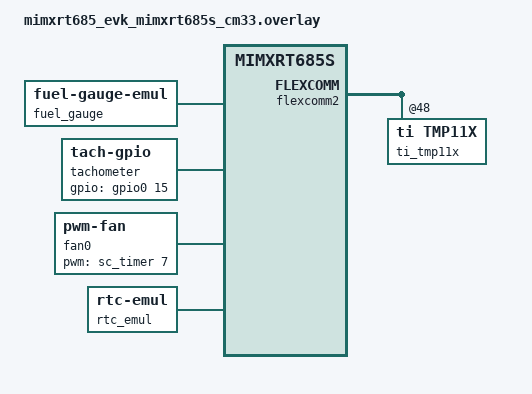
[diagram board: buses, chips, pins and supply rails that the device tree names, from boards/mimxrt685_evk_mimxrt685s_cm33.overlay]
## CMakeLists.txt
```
# SPDX-License-Identifier: Apache-2.0

cmake_minimum_required(VERSION 3.20.0)

find_package(Zephyr REQUIRED HINTS $ENV{ZEPHYR_BASE})

project(odp_thermal_service)
rust_cargo_application()
```

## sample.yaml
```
sample:
  description: ODP Thermal Service
  name: ODP Thermal Service
common:
  harness: console
  tags: rust
  filter: CONFIG_RUST_SUPPORTED
  platform_allow:
    - qemu_riscv32
tests:
  sample.rust.helloworld:
    tags: ODP
```

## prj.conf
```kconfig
# Copyright (c) 2024 Linaro LTD
# SPDX-License-Identifier: Apache-2.0

# The default 1k stack isn't large enough for rust string formatting with logging.
CONFIG_MAIN_STACK_SIZE=8192

CONFIG_RUST=y

CONFIG_RUST_ALLOC=y
CONFIG_LOG=y

# RTT logging
CONFIG_LOG_BACKEND_RTT=y
CONFIG_USE_SEGGER_RTT=y
CONFIG_RTT_CONSOLE=y
CONFIG_LOG_BACKEND_UART=n

# RTT buffer configuration
CONFIG_SEGGER_RTT_BUFFER_SIZE_UP=4096
CONFIG_SEGGER_RTT_BUFFER_SIZE_DOWN=256
CONFIG_LOG_BUFFER_SIZE=4096
CONFIG_LOG_MODE_IMMEDIATE=y

# Add sensor
CONFIG_SENSOR=y
CONFIG_I2C=y
CONFIG_SENSOR_INIT_PRIORITY=90

# Stuff for UART
CONFIG_SERIAL=y
CONFIG_UART_ASYNC_API=y
CONFIG_DMA=y
CONFIG_DMA_MCUX_LPC=y   
CONFIG_STDOUT_CONSOLE=n # u_Note: same as below, turning off the zephyr uart logging so it doesn't collide with our uart-service stuff
CONFIG_UART_CONSOLE=n # u_Note: turning off the zephyr uart logging so it doesn't collide with our uart-service stuff

# Stuff for RTC
CONFIG_RTC=y
CONFIG_RTC_ALARM=y
CONFIG_RTC_UPDATE=y
CONFIG_RTC_CALIBRATION=y

# Stuff for battery
CONFIG_FUEL_GAUGE=y

# PWM Fan config
CONFIG_PWM=y
```

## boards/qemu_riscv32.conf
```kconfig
# SPDX-License-Identifier: Apache-2.0
# No I2C needed for mock sensor on QEMU
CONFIG_I2C=n

# Match the tick rate that the thermal-service expects (default is 100, too slow)
CONFIG_SYS_CLOCK_TICKS_PER_SEC=10000

# Use icount with sleep=on so QEMU paces itself in real time
CONFIG_QEMU_ICOUNT_SLEEP=y
```

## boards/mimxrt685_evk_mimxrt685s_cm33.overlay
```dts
/*
 * Copyright (c) 2024 Linaro LTD
 * SPDX-License-Identifier: Apache-2.0
 *
 * Devicetree overlay for thermal-service sample on mimxrt685_evk
 */

&flexcomm2 {
	ti_tmp11x: ti_tmp11x@48 {
		compatible = "ti,tmp11x";
		reg = <0x48>;
		#address-cells = <1>;
		#size-cells = <0>;
	};

	/*
	 * Real SBS gauge, commented out for emulator testing
	fuel_gauge: sbs-gauge@b {
		compatible = "sbs,sbs-gauge-new-api";
		reg = <0x0b>;
	};
	*/
};

/ {
	/* Emulated fuel gauge for testing without hardware */
	fuel_gauge: fuel-gauge-emul {
		compatible = "zephyr,fuel-gauge-emul";
		status = "okay";
	};
};

/ {
    tachometer: tachometer {
        compatible = "zephyr,tach-gpio";
        gpios = <&gpio0 15 (GPIO_ACTIVE_HIGH | GPIO_PULL_UP)>;
        pulses-per-round = <2>;
    };

	fan0: my-fan {
		compatible = "pwm-fan";
		pwms = <&sc_timer 7 40000 0>;
		max-rpm = <5000>;
		min-rpm = <0>;
		min-start-rpm = <3000>;
	};
};

/ {
    /* The actual RTC driver in zephyr */
    rtc_emul: rtc_emul {
        compatible = "zephyr,rtc-emul";
        status = "okay";
    };

    /* The Rust wrapper node */
    rs_rtc0: rs-rtc {
        compatible = "rs,rtc";
        rtc = <&rtc_emul>;       /* phandle to the real RTC */
        resolution-hz = <1>;     /* 1 Hz resolution */
    };
};
```

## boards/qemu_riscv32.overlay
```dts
/* SPDX-License-Identifier: Apache-2.0 */

/ {
	aliases {
		temperature-sensor = &mock_temp;
	};

	mock_temp: mock-temp-sensor {
		compatible = "zephyr,mock-temp-sensor";
		status = "okay";
	};
};
```

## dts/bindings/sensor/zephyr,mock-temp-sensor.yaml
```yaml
# Copyright (c) 2025
# SPDX-License-Identifier: Apache-2.0

description: Mock temperature sensor for testing without hardware

compatible: "zephyr,mock-temp-sensor"

include: [sensor-device.yaml]
```

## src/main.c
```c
/*
 * Copyright (c) 2012-2014 Wind River Systems, Inc.
 *
 * SPDX-License-Identifier: Apache-2.0
 */

#include <zephyr/kernel.h>

extern void rust_main(void);

#if defined(CONFIG_LOG) && !defined(CONFIG_LOG_MINIMAL)
// Logging, to see how things things are expanded.
#include <zephyr/logging/log.h>
LOG_MODULE_REGISTER(rust, 3);

void rust_log_message(uint32_t level, char *msg)
{
    // Ok.  The log macros in Zephyr perform all kinds of macro stitching, etc, on the
    // arguments.  As such, we can't just pass the level to something, but actually need to
    // expand things here.  This puts the file and line information of the log in this file,
    // rather than where we came from.
    switch (level)
    {
    case LOG_LEVEL_ERR:
        LOG_ERR("%s", msg);
        break;
    case LOG_LEVEL_WRN:
        LOG_WRN("%s", msg);
        break;
    case LOG_LEVEL_INF:
        LOG_INF("%s", msg);
        break;
    case LOG_LEVEL_DBG:
    default:
        LOG_DBG("%s", msg);
        break;
    }
}
#endif /* defined(CONFIG_LOG) && !defined(CONFIG_LOG_MINIMAL) */

struct k_thread c_app_thread;
K_THREAD_STACK_DEFINE(c_app_stack, CONFIG_MAIN_STACK_SIZE);
extern void tmp11x_read(void *dummy1, void *dummy2, void *dummy3);

int main(void)
{
    LOG_WRN("W: Custom C entry point! %s\n", CONFIG_BOARD_TARGET);

#ifdef CONFIG_RUST
    // Rust implementation of temperature read
    rust_main();
#else
    // C implementation of temperature read
    k_thread_create(&c_app_thread, c_app_stack, CONFIG_MAIN_STACK_SIZE,
                    tmp11x_read, NULL, NULL, NULL,
                    -1, K_USER, K_MSEC(0));
#endif

    return 0;
}

/* On most arches, panic is entirely macros resulting in some kind of inline assembly.  Create this
 * wrapper so the Rust panic handler can call the same kind of panic.
 */
void rust_panic_wrap(void)
{
    k_panic();
}
```

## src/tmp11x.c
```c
/*
 * Copyright (c) 2019 Centaur Analytics, Inc
 *
 * SPDX-License-Identifier: Apache-2.0
 */

#include <zephyr/kernel.h>
#include <zephyr/device.h>
#include <zephyr/drivers/sensor.h>
#include <zephyr/drivers/eeprom.h>
#include <zephyr/drivers/sensor/tmp11x.h>
#include <zephyr/sys/printk.h>
#include <zephyr/sys/__assert.h>

#ifdef CONFIG_DT_HAS_TI_TMP11X_RS_ENABLED
#define TMP11X_NODE DT_COMPAT_GET_ANY_STATUS_OKAY(ti_tmp11x_rs)
#else
#define TMP11X_NODE DT_COMPAT_GET_ANY_STATUS_OKAY(ti_tmp11x)
#endif

void tmp11x_read(void *dummy1, void *dummy2, void *dummy3)
{
    const struct device *const dev = DEVICE_DT_GET(TMP11X_NODE);
    struct sensor_value temp_value;

    /* offset to be added to the temperature
     * only supported by TMP117 and TMP119
     */
    struct sensor_value offset_value;
    int ret;

    __ASSERT(device_is_ready(dev), "tmp11x device not ready");
    __ASSERT(device_is_ready(eeprom), "tmp11x eeprom device not ready");

    printk("Device %s - %p is ready\n", dev->name, dev);

    /*
     * if an offset of 2.5 oC is to be added,
     * set val1 = 2 and val2 = 500000.
     * See struct sensor_value documentation for more details.
     */
    offset_value.val1 = 0;
    offset_value.val2 = 0;
    ret = sensor_attr_set(dev, SENSOR_CHAN_AMBIENT_TEMP,
                          SENSOR_ATTR_OFFSET, &offset_value);
    if (ret)
    {
        printk("sensor_attr_set failed ret = %d\n", ret);
        printk("SENSOR_ATTR_OFFSET is only supported by TMP117 and TMP119\n");
    }
    while (1)
    {
        ret = sensor_sample_fetch(dev);
        if (ret)
        {
            printk("Failed to fetch measurements (%d)\n", ret);
            k_sleep(K_MSEC(1000));
            continue;
        }

        ret = sensor_channel_get(dev, SENSOR_CHAN_AMBIENT_TEMP,
                                 &temp_value);
        if (ret)
        {
            printk("Failed to get measurements (%d)\n", ret);
            k_sleep(K_MSEC(1000));
            continue;
        }

        printk("Temperature read in C\n");
        printk("   Temp is %d.%d Celcius\n", temp_value.val1, temp_value.val2);

        k_sleep(K_MSEC(1000));
    }

    return;
}
```
